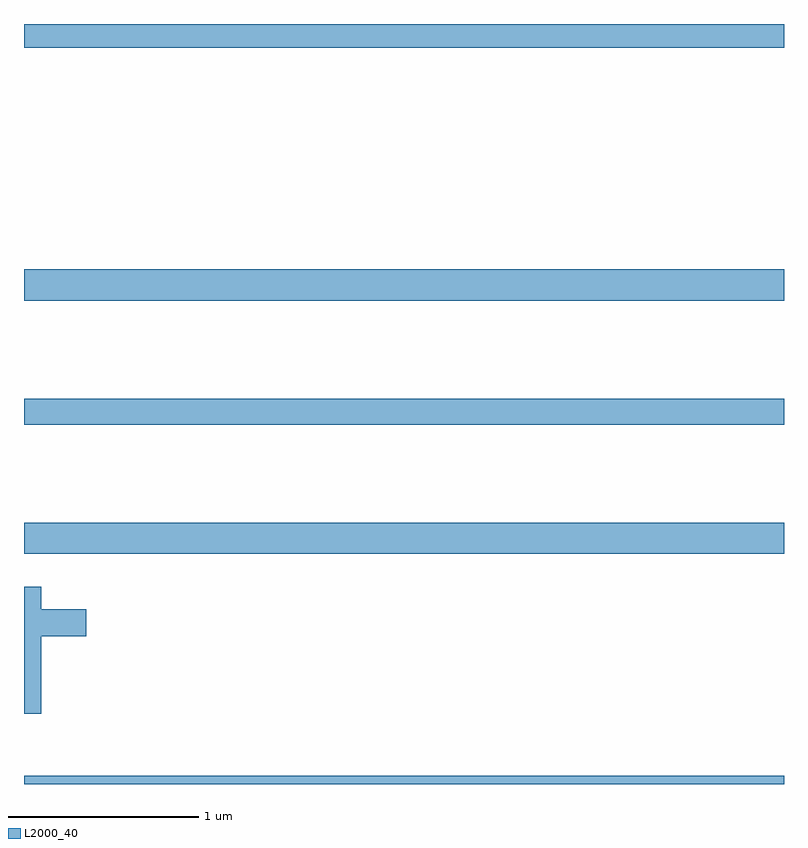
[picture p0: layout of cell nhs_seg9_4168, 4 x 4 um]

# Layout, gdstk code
import gdstk
lib = gdstk.Library(unit=1e-6, precision=1e-09)
def R(c, l, rs):  # rectangles x0, y0, x1, y1
    for r in rs: c.add(gdstk.rectangle(r[:2], r[2:], *l))
def P(c, l, *ps):  # polygons
    for p in ps: c.add(gdstk.Polygon(p, *l))
L2000_40 = (2000, 40)

nhs_seg9_4168 = lib.new_cell('nhs_seg9_4168')
R(nhs_seg9_4168, L2000_40, [(349,1236.5,353,1236.544), (349,1237.712,353,1237.876), (349,1238.392,353,1238.528), (349,1239.044,353,1239.208), (349,1240.376,353,1240.5)])
P(nhs_seg9_4168, L2000_40, [(349.091,1237.277),(349.327,1237.277),(349.327,1237.419),(349.091,1237.419),(349.091,1237.537),(349,1237.537),(349,1236.87),(349.091,1236.87)])

lib.write_gds('nhs_seg9_4168.gds')
